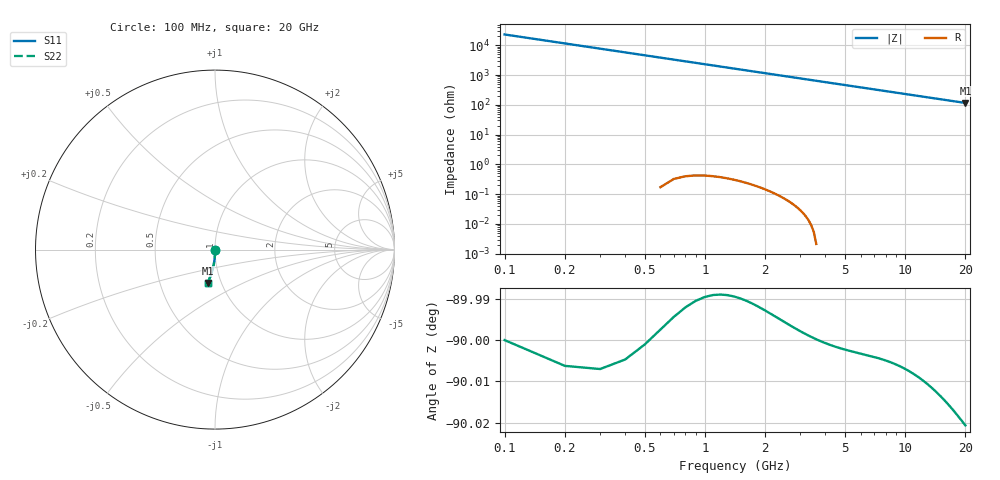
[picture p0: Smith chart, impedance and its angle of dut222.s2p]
! Touchstone file exported from HFSS 2026.1.0
!  File:  C:/ffzhzh/LocalFiles/Ansys_Project_Files/temp_train_TSV_222_1782992199_40604.aedt
!  Generated:  07:37:53 PM Jul  2, 2026
!  Design:  TSV
!  Project:  temp_train_TSV_222_1782992199_40604
! Variables:
!  h_bsmrdl = 2um
!  h_ox = 20um
!  h_rdl = 5um
!  h_sub = 80.98um
!  h_tmrdl = 5um
!  h_tsv = 80.98um
!  h_via = 3um
!  l_bsmrdl = 300um
!  l_sub = 419.16um
!  l_tmrdl = 200um
!  m_sub = 200um
!  pitch = 20.52um
!  r_tsv = 9.58um
!  s_tmrdl = 10um
!  w_bsmrdl = 18um
!  w_sub = 500um
!  w_tmrdl = 12um
!  x_tsv_center1 = 206um
!  x_tsv_center2 = 524um
!  x_tsv_center3 = 736um
!  x_tsv_center4 = 1054um
!  x_tsv_center5 = 1266um
!  x_tsv_center6 = 1584um
# GHz S MA R 50.000000
! Terminal data exported
! Port[1] = TSV1_1_T1
! Port[2] = TSV1_1_T2
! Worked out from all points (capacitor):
!   200 points, 100 MHz to 20 GHz, reference 50 ohm
!   read as one part in shunt: C = 68.6 fF near 200 MHz
!   lowest |Z| = 116 ohm at 20 GHz (marker M1)
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0.1  0.0008987 -79.3  0.9998 -0.1  0.9998 -0.1  0.0008987 -79.3
! Gamma 0 0 0 0
! Port Impedance 50 0 50 0
0.2  0.001788 -83.7  0.9998 -0.1  0.9998 -0.1  0.001788 -83.7
0.3  0.002697 -85.0  0.9998 -0.2  0.9998 -0.2  0.002697 -85.0
0.4  0.003625 -85.6  0.9997 -0.3  0.9997 -0.3  0.003625 -85.6
0.5  0.004567 -86.0  0.9996 -0.4  0.9996 -0.4  0.004567 -86.0
0.7  0.006478 -86.7  0.9995 -0.5  0.9995 -0.5  0.006478 -86.7
0.8  0.00744 -87.0  0.9995 -0.6  0.9995 -0.6  0.00744 -87.0
1  0.009371 -87.5  0.9994 -0.7  0.9994 -0.7  0.009371 -87.5
1.2  0.0113 -87.9  0.9994 -0.8  0.9994 -0.8  0.0113 -87.9
1.4  0.01324 -88.3  0.9993 -1.0  0.9993 -1.0  0.01324 -88.3
1.7  0.01613 -88.8  0.9992 -1.2  0.9992 -1.2  0.01613 -88.8
2  0.01903 -89.3  0.9991 -1.4  0.9991 -1.4  0.01903 -89.3
2.7  0.02579 -90.1  0.9989 -1.9  0.9989 -1.9  0.02579 -90.1
3.5  0.03352 -90.8  0.9985 -2.4  0.9985 -2.4  0.03352 -90.8
4.2  0.0403 -91.4  0.9982 -2.9  0.9982 -2.9  0.0403 -91.4
5  0.04805 -92.1  0.9977 -3.4  0.9977 -3.4  0.04805 -92.1
6.8  0.0655 -93.4  0.9965 -4.6  0.9965 -4.6  0.0655 -93.4
8.3  0.08001 -94.5  0.9952 -5.6  0.9952 -5.6  0.08001 -94.5
10.1  0.09736 -95.8  0.9935 -6.8  0.9935 -6.8  0.09736 -95.8
13.4  0.1289 -98.1  0.9896 -9.0  0.9896 -9.0  0.1289 -98.1
16.7  0.16 -100.4  0.9848 -11.2  0.9848 -11.2  0.16 -100.4
20  0.1907 -102.6  0.9791 -13.4  0.9791 -13.4  0.1907 -102.6
